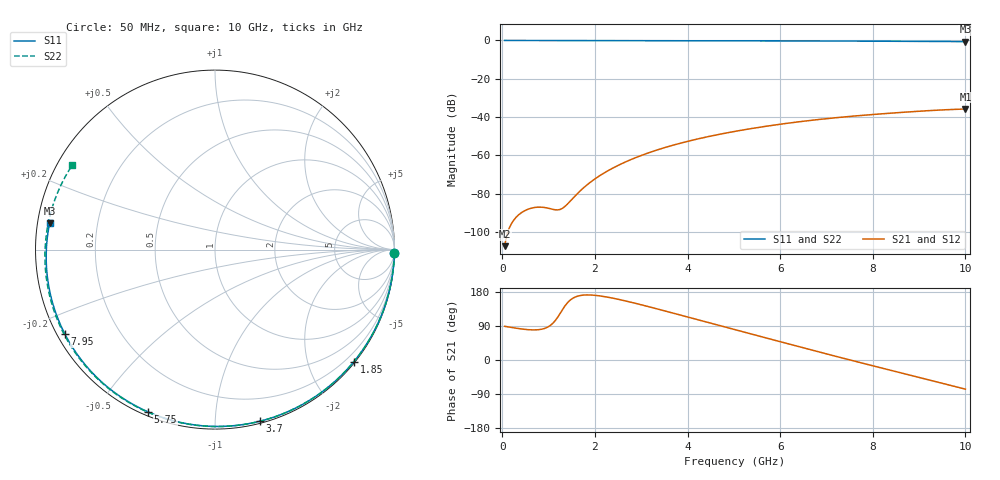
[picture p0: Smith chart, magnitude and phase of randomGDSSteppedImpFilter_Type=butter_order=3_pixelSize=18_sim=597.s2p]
! freq	dB(S11)	phase(S11)	dB(S12)	phase(S12)
!  dB(S21)	phase(S21)	dB(S22)	phase(S22)
!S-par simulation data
#  GHz  S  DB  R 50
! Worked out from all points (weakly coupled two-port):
!   200 points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, 50 MHz to 10 GHz, reference 50 ohm
!   highest |S21| = -35.78 dB at 10 GHz (marker M1); lowest = -107.4 dB at 50 MHz (marker M2)
!   lowest |S11| = -0.6 dB at 10 GHz (marker M3), VSWR 28.88, Z = 1.74 + j3.95 ohm
!   |S11| at or under -10 dB: nowhere
!   |S22| runs from -0.7 to 0.0 dB; largest |S21 - S12| = 0
!   S11 on the Smith chart (normalised r, x): 50 MHz: open; 1.85 GHz: 0.03, -2.83; 3.7 GHz: 0.02, -1.30; 5.75 GHz: 0.02, -0.67; 7.95 GHz: 0.02, -0.26; 10 GHz: 0.03, +0.08
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0.05  -0.00 -1.1  -107.38 88.9  -107.38 88.9  -0.00 -1.2
0.8  -0.02 -17.0  -87.00 80.2  -87.00 80.2  -0.02 -18.5
1.6  -0.04 -33.8  -80.47 167.4  -80.47 167.4  -0.05 -36.7
1.65  -0.04 -34.8  -79.26 169.2  -79.26 169.2  -0.05 -37.9
1.75  -0.05 -36.9  -77.02 171.3  -77.02 171.3  -0.05 -40.1
1.85  -0.05 -38.9  -74.99 171.7  -74.99 171.7  -0.05 -42.3
2.15  -0.06 -45.0  -69.89 168.4  -69.89 168.4  -0.06 -48.9
2.5  -0.07 -52.0  -65.23 160.3  -65.23 160.3  -0.07 -56.6
2.9  -0.08 -59.9  -60.97 148.8  -60.97 148.8  -0.08 -65.1
3.4  -0.09 -69.6  -56.72 133.1  -56.72 133.1  -0.10 -75.6
3.7  -0.10 -75.3  -54.59 123.3  -54.59 123.3  -0.11 -81.8
4.35  -0.12 -87.4  -50.70 102.0  -50.70 102.0  -0.13 -94.9
5.05  -0.15 -100.1  -47.35 79.1  -47.35 79.1  -0.17 -108.6
5.75  -0.19 -112.5  -44.60 56.4  -44.60 56.4  -0.20 -122.1
6.7  -0.25 -129.0  -41.61 25.7  -41.61 25.7  -0.27 -140.2
7.35  -0.30 -140.2  -40.00 5.0  -40.00 5.0  -0.33 -152.8
7.95  -0.36 -150.6  -38.75 -13.7  -38.75 -13.7  -0.39 -164.6
8.35  -0.40 -157.7  -38.02 -25.9  -38.02 -25.9  -0.43 -172.8
8.8  -0.45 -165.9  -37.26 -39.6  -37.26 -39.6  -0.49 177.7
9.2  -0.50 -173.3  -36.65 -52.0  -36.65 -52.0  -0.55 168.8
9.6  -0.55 179.0  -36.15 -64.5  -36.15 -64.5  -0.61 159.4
10  -0.60 171.0  -35.78 -76.9  -35.78 -76.9  -0.68 149.4
